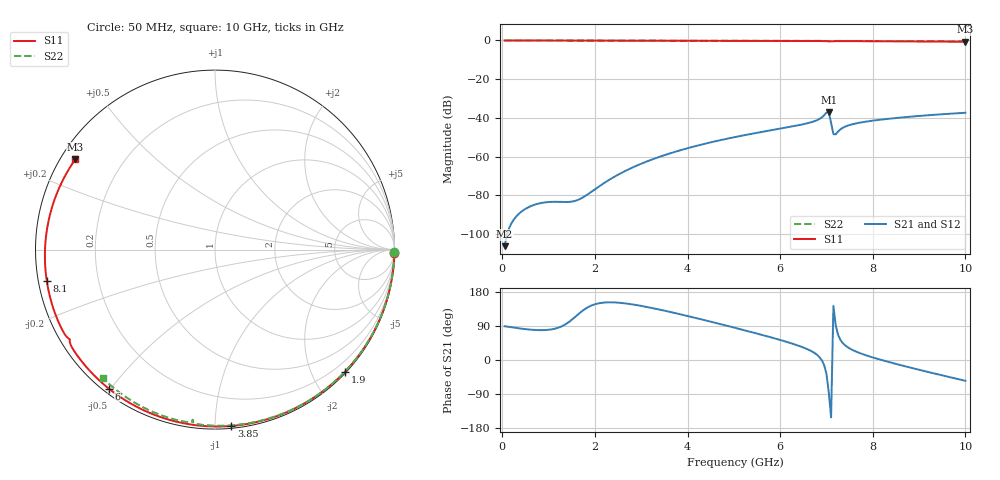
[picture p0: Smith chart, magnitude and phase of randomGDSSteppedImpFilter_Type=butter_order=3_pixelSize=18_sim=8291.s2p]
! freq	dB(S11)	phase(S11)	dB(S12)	phase(S12)
!  dB(S21)	phase(S21)	dB(S22)	phase(S22)
!S-par simulation data
#  GHz  S  DB  R 50
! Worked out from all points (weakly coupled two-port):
!   200 points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, 50 MHz to 10 GHz, reference 50 ohm
!   highest |S21| = -37.05 dB at 7.05 GHz (marker M1); lowest = -106.2 dB at 50 MHz (marker M2)
!   lowest |S11| = -0.7 dB at 10 GHz (marker M3), VSWR 26.29, Z = 2.07 + j14.8 ohm
!   |S11| at or under -10 dB: nowhere
!   |S22| runs from -0.4 to 0.0 dB; largest |S21 - S12| = 0
!   S11 on the Smith chart (normalised r, x): 50 MHz: 0, -98; 1.9 GHz: 0.02, -2.52; 3.85 GHz: 0.01, -1.10; 6 GHz: 0.02, -0.49; 8.1 GHz: 0.02, -0.09; 10 GHz: 0.04, +0.30
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0.05  -0.00 -1.2  -106.16 89.1  -106.16 89.1  -0.00 -0.8
0.85  -0.02 -19.6  -83.83 78.8  -83.83 78.8  -0.02 -12.8
1.75  -0.05 -39.9  -80.87 131.5  -80.87 131.5  -0.03 -26.2
1.8  -0.05 -41.0  -80.12 135.7  -80.12 135.7  -0.03 -26.9
1.9  -0.05 -43.2  -78.50 142.4  -78.50 142.4  -0.04 -28.4
2.6  -0.07 -58.5  -68.01 150.2  -68.01 150.2  -0.05 -38.5
3.4  -0.10 -75.4  -60.01 132.9  -60.01 132.9  -0.07 -49.8
3.85  -0.12 -84.7  -56.62 120.5  -56.62 120.5  -0.08 -56.0
5.05  -0.17 -108.8  -49.73 84.2  -49.73 84.2  -0.11 -72.1
6  -0.22 -127.4  -45.52 52.9  -45.52 52.9  -0.15 -84.3
6.7  -0.28 -141.2  -42.00 21.7  -42.00 21.7  -0.18 -93.1
6.85  -0.29 -144.3  -40.49 7.3  -40.49 7.3  -0.19 -95.1
7  -0.36 -147.5  -37.20 -36.9  -37.20 -36.9  -0.28 -97.3
7.05  -0.44 -148.2  -37.05 -85.7  -37.05 -85.7  -0.39 -97.5
7.15  -0.36 -149.6  -48.34 142.6  -48.34 142.6  -0.27 -97.8
7.2  -0.35 -150.7  -48.45 91.2  -48.45 91.2  -0.25 -98.5
7.3  -0.34 -152.8  -45.91 53.4  -45.91 53.4  -0.23 -99.9
7.5  -0.35 -156.9  -43.63 30.5  -43.63 30.5  -0.23 -102.4
8.1  -0.41 -169.3  -41.08 3.1  -41.08 3.1  -0.27 -109.5
8.35  -0.44 -174.6  -40.39 -5.4  -40.39 -5.4  -0.29 -112.4
9.2  -0.55 166.5  -38.59 -31.8  -38.59 -31.8  -0.36 -122.2
10  -0.66 147.0  -37.32 -54.9  -37.32 -54.9  -0.45 -131.2
